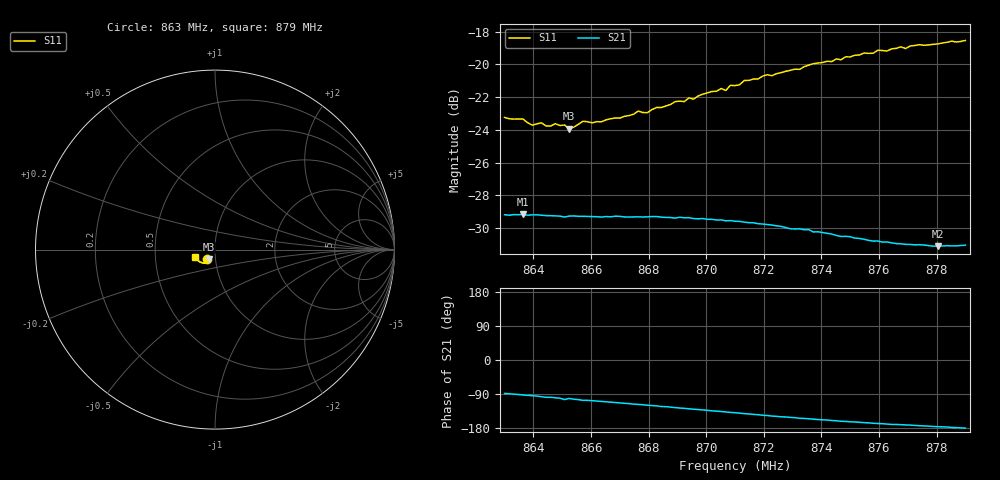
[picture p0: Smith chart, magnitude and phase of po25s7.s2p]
# HZ S RI R 50
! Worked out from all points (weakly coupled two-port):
!   101 points, 863 MHz to 879 MHz, reference 50 ohm
!   highest |S21| = -29.16 dB at 863.64 MHz (marker M1); lowest = -31.1 dB at 878.04 MHz (marker M2)
!   lowest |S11| = -23.9 dB at 865.24 MHz (marker M3), VSWR 1.14, Z = 46.4 - j5.01 ohm
!   |S11| at or under -10 dB: start of sweep to end of sweep
!   S12 and S22 are empty: the file has one direction only
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8.63e8  -0.0443 -0.0528  0.00111 -0.0347  0 0  0 0
8.6364e8  -0.0423 -0.0533  -0.00142 -0.0348  0 0  0 0
8.6396e8  -0.0391 -0.0522  -0.00255 -0.0346  0 0  0 0
8.6428e8  -0.0382 -0.0542  -0.00413 -0.0344  0 0  0 0
8.646e8  -0.0377 -0.0528  -0.00501 -0.0341  0 0  0 0
8.6476e8  -0.0382 -0.0537  -0.00574 -0.034  0 0  0 0
8.6508e8  -0.0362 -0.0544  -0.00853 -0.0331  0 0  0 0
8.6524e8  -0.0341 -0.0537  -0.00678 -0.0337  0 0  0 0
8.6572e8  -0.0346 -0.0574  -0.00972 -0.033  0 0  0 0
8.6636e8  -0.0349 -0.057  -0.0113 -0.0323  0 0  0 0
8.6764e8  -0.0352 -0.0629  -0.0156 -0.0305  0 0  0 0
8.6844e8  -0.0356 -0.0647  -0.0185 -0.0287  0 0  0 0
8.7052e8  -0.0441 -0.072  -0.0241 -0.0233  0 0  0 0
8.7068e8  -0.0434 -0.0711  -0.0244 -0.0227  0 0  0 0
8.7084e8  -0.0468 -0.0725  -0.0249 -0.0222  0 0  0 0
8.71e8  -0.0461 -0.0728  -0.0251 -0.0218  0 0  0 0
8.7132e8  -0.0485 -0.075  -0.0258 -0.0205  0 0  0 0
8.7324e8  -0.0627 -0.0734  -0.0282 -0.0139  0 0  0 0
8.7372e8  -0.0665 -0.0754  -0.0281 -0.0125  0 0  0 0
8.7644e8  -0.0914 -0.0641  -0.0281 -0.00489  0 0  0 0
8.7804e8  -0.1035 -0.0511  -0.0278 -0.00195  0 0  0 0
8.79e8  -0.111 -0.0411  -0.028 -0.000103  0 0  0 0
